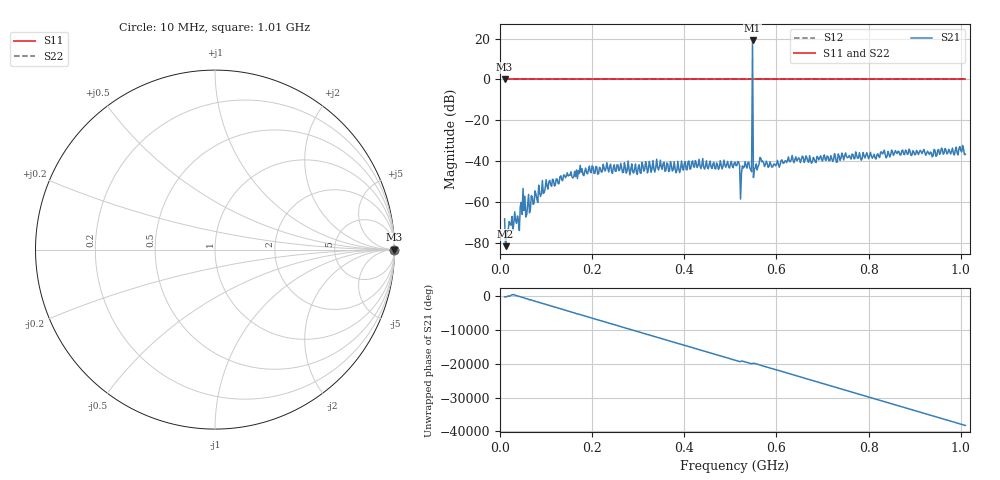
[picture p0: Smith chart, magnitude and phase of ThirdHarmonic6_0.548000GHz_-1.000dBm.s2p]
! 8/15/2025 5:19:26 PM
! C:\ANRITSUVNA\TEMP\TEMP.S2P
! CHANNEL.1
! TR.MEASUREMENT
! RAW.DATA
! RF.CORRECTION.OFF
! AVERAGING.OFF
! IF.BANDWIDTH: 5KHZ
! SWEEPTYPE:  FREQ.SWEEP(Linear)
! Reference Plane Port Info
! PORT:  PORT1  PORT2
! DISTANCE:  0  m  0  m
! TIME:  0  s  0  s
! PHASE.OFFSET:  0  deg.  0  deg.
! LOSS:  0  dB  0  dB
! REF.LOSS:  0  dB  0  dB
! REF.FREQ:  0  Hz  0  Hz
! Power Info
! POWER:  -20  dBm  -20  dBm
! EFF.POWER:  -20  dBm  -20  dBm
! SOURCE.ATTEN:  0  dB  0  dB
! TEST.ATTEN:  0  dB  0  dB
# GHZ S RI R 50.0
! FREQ.GHZ  S11RE  S11IM  S21RE  S21IM  S12RE  S12IM  S22RE  S22IM
!; PortSelection: Port_12
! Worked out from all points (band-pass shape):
!   501 points, 10 MHz to 1.01 GHz, reference 50 ohm
!   highest |S21| = 19.14 dB at 548 MHz (marker M1); lowest = -81.8 dB at 12 MHz (marker M2)
!   |S21| within 3 dB of the highest: 547.9069 MHz to 548.0892 MHz (182.4 kHz wide, 0.0333 % of centre)
!   lowest |S11| = 0.0 dB at 10 MHz (marker M3)
!   |S11| at or under -10 dB: nowhere
!   |S22| runs from 0.0 to 0.0 dB; largest |S21 - S12| = 8.6
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0.01  1 0  -0.000266 -0.000274  1 0  1 0
0.012  1 0  -7.97e-05 1.72e-05  1 0  1 0
0.038  1 0  -0.000182 0.00041  1 0  1 0
0.05  1 0  0.00171 0.00128  1 0  1 0
0.06  1 0  0.000825 -0.000277  1 0  1 0
0.104  1 0  0.00158 -0.00131  1 0  1 0
0.178  1 0  -0.00619 -0.00189  1 0  1 0
0.344  1 0  0.006 -0.000251  1 0  1 0
0.51  1 0  -0.0094 -0.000195  1 0  1 0
0.526  1 0  -0.00324 -0.00685  1 0  1 0
0.53  1 0  -0.00281 0.00656  1 0  1 0
0.542  1 0  0.00594 -0.00337  1 0  1 0
0.544  1 0  -0.000849 -0.00601  1 0  1 0
0.548  1 0  4.901 -7.622  1 0  1 0
0.552  1 0  0.00392 -0.00492  1 0  1 0
0.554  1 0  -0.0024 -0.0064  1 0  1 0
0.568  1 0  0.00926 0.00253  1 0  1 0
0.594  1 0  0.00278 0.00793  1 0  1 0
0.678  1 0  0.0057 -0.00767  1 0  1 0
0.844  1 0  -0.00457 0.0143  1 0  1 0
1  1 0  0.0136 -0.0117  1 0  1 0
1.01  1 0  0.0065 -0.0131  1 0  1 0
